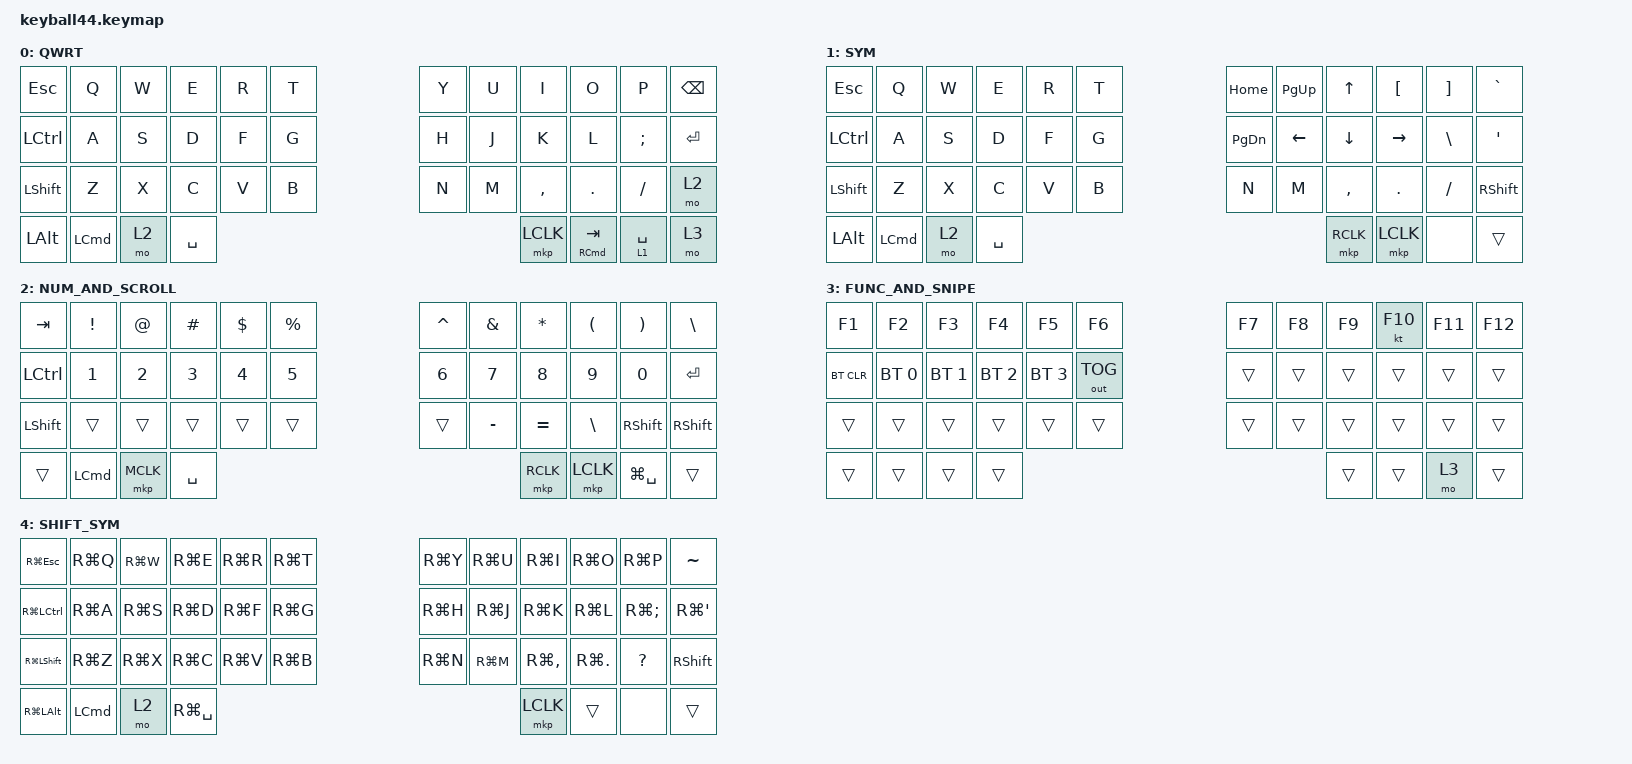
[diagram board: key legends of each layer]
#define DEFAULT 0
#define NUM     1
#define SYM     2
#define FUN     3
#define MOUSE   4
#define SCROLL  5
#define SNIPE   6

#include <behaviors/mouse_keys.dtsi>
#include <dt-bindings/zmk/mouse.h>
#include <behaviors.dtsi>
#include <dt-bindings/zmk/bt.h>
#include <dt-bindings/zmk/keys.h>
#include <dt-bindings/zmk/outputs.h>
#include <dt-bindings/zmk/pointing.h>

&lt {
    tapping-term-ms = <200>;
    flavor = "tap-preferred";
    quick-tap-ms = <100>;
};

&mt {
    tapping-term-ms = <200>;
    flavor = "tap-preferred";
    quick-tap-ms = <150>;
};

&caps_word { continue-list = <UNDERSCORE MINUS>; };

/ {
    // custom shift using mod-morph 

    behaviors {
        cmqus: comma_question {
            compatible = "zmk,behavior-mod-morph";
            label = "COMMA_QUESTION";
            #binding-cells = <0>;
            bindings = <&kp COMMA>, <&kp QUESTION>;

            mods = <(MOD_LSFT|MOD_RSFT)>;
        };

        dtsmi: dot_semi {
            compatible = "zmk,behavior-mod-morph";
            label = "DOT_SEMI";
            #binding-cells = <0>;
            bindings = <&kp DOT>, <&kp SEMI>;

            mods = <(MOD_LSFT|MOD_RSFT)>;
        };

        fastholdtap: fastholdtap {
            compatible = "zmk,behavior-hold-tap";
            label = "FASTHOLDTAP";
            bindings = <&mo>, <&kp>;

            #binding-cells = <2>;
            tapping-term-ms = <2147483647>;
            flavor = "tap-unless-interrupted";
            hold-while-undecided;
            retro-tap;
        };
    };

    macros {
        commandclick: new_macro {
            compatible = "zmk,behavior-macro";
            #binding-cells = <0>;
            bindings = <&sk LEFT_COMMAND &mkp LCLK>;
            label = "NEW_MACRO";
        };
    };

    keymap {
        compatible = "zmk,keymap";

        default_layer {
            label = "QWRT";
            bindings = <
&kp ESCAPE      &kp Q             &kp W  &kp E      &kp R      &kp T                             &kp Y                 &kp U  &kp I      &kp O    &kp P      &kp BACKSPACE
&kp LCTRL       &kp A             &kp S  &kp D      &kp F      &kp G                             &kp H                 &kp J  &kp K      &kp L    &kp SEMI   &kp ENTER
&kp LEFT_SHIFT  &kp Z             &kp X  &kp C      &kp V      &kp B                             &kp N                 &kp M  &kp COMMA  &kp DOT  &kp SLASH  &mo 2
&kp LEFT_ALT    &kp LEFT_COMMAND  &mo 2  &kp SPACE  &mkp LCLK             &mt RIGHT_COMMAND TAB  &fastholdtap 1 SPACE                                        &mo 3
            >;
        };

        symbol_layer {
            label = "SYM";
            bindings = <
&kp ESC           &kp Q             &kp W  &kp E      &kp R      &kp T                 &kp HOME       &kp PAGE_UP     &kp UP_ARROW  &kp LEFT_BRACKET  &kp RIGHT_BRACKET  &kp GRAVE
&kp LEFT_CONTROL  &kp A             &kp S  &kp D      &kp F      &kp G                 &kp PAGE_DOWN  &kp LEFT_ARROW  &kp DOWN      &kp RIGHT         &kp BACKSLASH      &kp SINGLE_QUOTE
&kp LEFT_SHIFT    &kp Z             &kp X  &kp C      &kp V      &kp B                 &kp N          &kp M           &kp COMMA     &kp PERIOD        &kp SLASH          &kp RIGHT_SHIFT
&kp LEFT_ALT      &kp LEFT_COMMAND  &mo 2  &kp SPACE  &mkp RCLK             &mkp LCLK  &none                                                                             &trans
            >;
        };

        number_and_scroll_layer {
            label = "NUM_AND_SCROLL";
            bindings = <
&kp TAB           &kp EXCLAMATION   &kp AT_SIGN   &kp HASH      &kp DOLLAR    &kp PERCENT                 &kp CARET      &kp AMPERSAND  &kp ASTERISK  &kp LEFT_PARENTHESIS  &kp RIGHT_PARENTHESIS  &kp BACKSLASH
&kp LEFT_CONTROL  &kp NUMBER_1      &kp NUMBER_2  &kp NUMBER_3  &kp NUMBER_4  &kp N5                      &kp NUMBER_6   &kp N7         &kp N8        &kp N9                &kp N0                 &kp RETURN
&kp LEFT_SHIFT    &trans            &trans        &trans        &trans        &trans                      &trans         &kp MINUS      &kp EQUAL     &kp BACKSLASH         &kp RIGHT_SHIFT        &kp RIGHT_SHIFT
&trans            &kp LEFT_COMMAND  &mkp MCLK     &kp SPACE     &mkp RCLK                      &mkp LCLK  &kp LG(SPACE)                                                                            &trans
            >;
        };

        function_and_snipe_layer {
            label = "FUNC_AND_SNIPE";
            bindings = <
&kp F1      &kp F2        &kp F3        &kp F4        &kp F5        &kp F6                    &kp F7  &kp F8  &kp F9  &kt F10  &kp F11  &kp F12
&bt BT_CLR  &bt BT_SEL 0  &bt BT_SEL 1  &bt BT_SEL 2  &bt BT_SEL 3  &out OUT_TOG              &trans  &trans  &trans  &trans   &trans   &trans
&trans      &trans        &trans        &trans        &trans        &trans                    &trans  &trans  &trans  &trans   &trans   &trans
&trans      &trans        &trans        &trans        &trans                          &trans  &mo 3                                     &trans
            >;
        };

        shift_symbol_layer {
            label = "SHIFT_SYM";
            bindings = <
&kp RG(ESC)           &kp RG(Q)         &kp RG(W)  &kp RG(E)      &kp RG(R)  &kp RG(T)              &kp RG(Y)  &kp RG(U)  &kp RG(I)      &kp RG(O)       &kp RG(P)          &kp TILDE
&kp RG(LEFT_CONTROL)  &kp RG(A)         &kp RG(S)  &kp RG(D)      &kp RG(F)  &kp RG(G)              &kp RG(H)  &kp RG(J)  &kp RG(K)      &kp RG(L)       &kp RG(SEMICOLON)  &kp RG(SQT)
&kp RG(LEFT_SHIFT)    &kp RG(Z)         &kp RG(X)  &kp RG(C)      &kp RG(V)  &kp RG(B)              &kp RG(N)  &kp RG(M)  &kp RG(COMMA)  &kp RG(PERIOD)  &kp QUESTION       &kp RIGHT_SHIFT
&kp RG(LEFT_ALT)      &kp LEFT_COMMAND  &mo 2      &kp RG(SPACE)  &mkp LCLK                 &trans  &none                                                                   &trans
            >;
        };
    };
};
